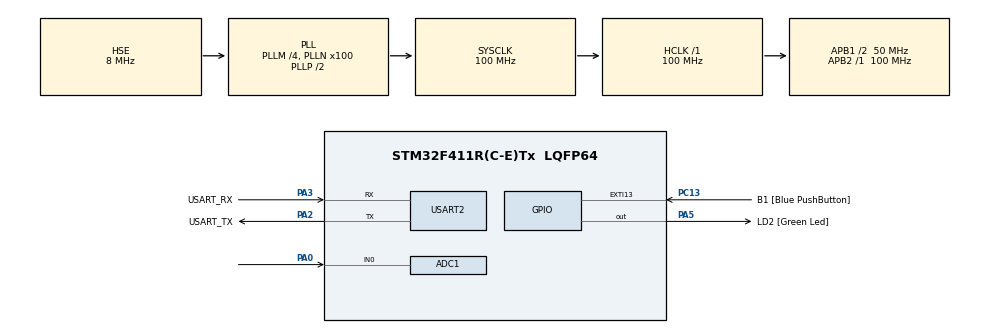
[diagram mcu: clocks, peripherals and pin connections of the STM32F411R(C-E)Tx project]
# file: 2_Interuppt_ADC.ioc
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ADC1.Channel-0\#ChannelRegularConversion=ADC_CHANNEL_0
ADC1.ContinuousConvMode=DISABLE
ADC1.NbrOfConversion=1
ADC1.NbrOfConversionFlag=1
ADC1.Rank-0\#ChannelRegularConversion=1
ADC1.SamplingTime-0\#ChannelRegularConversion=ADC_SAMPLETIME_84CYCLES
ADC1.ScanConvMode=DISABLE
ADC1.master=1
Mcu.Family=STM32F4
Mcu.Name=STM32F411R(C-E)Tx
Mcu.Package=LQFP64
NVIC.ADC_IRQn=true\:0\:0\:false\:false\:true\:true\:true\:true
NVIC.PriorityGroup=NVIC_PRIORITYGROUP_0
PA0-WKUP.Signal=ADCx_IN0
PA13.GPIO_Label=TMS
PA13.Mode=Serial_Wire
PA13.Signal=SYS_JTMS-SWDIO
PA14.GPIO_Label=TCK
PA14.Mode=Serial_Wire
PA14.Signal=SYS_JTCK-SWCLK
PA2.GPIO_Label=USART_TX
PA2.Mode=Asynchronous
PA2.Signal=USART2_TX
PA3.GPIO_Label=USART_RX
PA3.Mode=Asynchronous
PA3.Signal=USART2_RX
PA5.GPIO_Label=LD2 [Green Led]
PA5.Signal=GPIO_Output
PB3.GPIO_Label=SWO
PB3.Signal=SYS_JTDO-SWO
PC13-ANTI_TAMP.GPIO_Label=B1 [Blue PushButton]
PC13-ANTI_TAMP.GPIO_ModeDefaultEXTI=GPIO_MODE_IT_FALLING
PC13-ANTI_TAMP.Signal=GPXTI13
PC14-OSC32_IN.Mode=LSE-External-Oscillator
PC14-OSC32_IN.Signal=RCC_OSC32_IN
PC15-OSC32_OUT.Mode=LSE-External-Oscillator
PC15-OSC32_OUT.Signal=RCC_OSC32_OUT
PH0\ -\ OSC_IN.Mode=HSE-External-Clock-Source
PH0\ -\ OSC_IN.Signal=RCC_OSC_IN
PH1\ -\ OSC_OUT.Mode=HSE-External-Clock-Source
PH1\ -\ OSC_OUT.Signal=RCC_OSC_OUT
ProjectManager.HeapSize=0x200
ProjectManager.StackSize=0x400
ProjectManager.TargetToolchain=STM32CubeIDE
RCC.48MHZClocksFreq_Value=50000000
RCC.AHBFreq_Value=100000000
RCC.APB1CLKDivider=RCC_HCLK_DIV2
RCC.APB1Freq_Value=50000000
RCC.APB1TimFreq_Value=100000000
RCC.APB2Freq_Value=100000000
RCC.APB2TimFreq_Value=100000000
RCC.CortexFreq_Value=100000000
RCC.FLatency-AdvancedSettings=FLASH_LATENCY_3
RCC.HCLKFreq_Value=100000000
RCC.HSE_VALUE=8000000
RCC.HSI_VALUE=16000000
RCC.PLLM=4
RCC.PLLN=100
RCC.PLLSourceVirtual=RCC_PLLSOURCE_HSE
RCC.SYSCLKFreq_VALUE=100000000
RCC.SYSCLKSource=RCC_SYSCLKSOURCE_PLLCLK
RCC.VCOOutputFreq_Value=200000000
SH.ADCx_IN0.0=ADC1_IN0,IN0
USART2.VirtualMode=VM_ASYNC
board=NUCLEO-F411RE

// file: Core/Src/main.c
/* USER CODE BEGIN Header */
/**
  ******************************************************************************
  * @file           : main.c
  * @brief          : Main program body
  ******************************************************************************
  * @attention
  *
  * Copyright (c) 2025 STMicroelectronics.
  * All rights reserved.
  *
  * This software is licensed under terms that can be found in the LICENSE file
  * in the root directory of this software component.
  * If no LICENSE file comes with this software, it is provided AS-IS.
  *
  ******************************************************************************
  */
/* USER CODE END Header */
#include "main.h"

/* USER CODE BEGIN Includes */
#include <stdio.h>
/* USER CODE END Includes */

ADC_HandleTypeDef hadc1;

UART_HandleTypeDef huart2;

/* USER CODE BEGIN PV */
uint32_t value=0, ad_max=4095;
/* USER CODE END PV */

void SystemClock_Config(void);
static void MX_GPIO_Init(void);
static void MX_USART2_UART_Init(void);
static void MX_ADC1_Init(void);
/* USER CODE BEGIN PFP */
int __io_putchar(int ch)
{
	HAL_UART_Transmit(&huart2, (uint8_t*)&ch, 1, 0xFFFF);
	return ch;
}

void HAL_ADC_ConvCpltCallback(ADC_HandleTypeDef* hadc)
{
	if(hadc->Instance==ADC1)
	{
		value=HAL_ADC_GetValue(&hadc1);
	}

	HAL_ADC_Start_IT(hadc);	//adc 재시작
}
/* USER CODE END PFP */

int main(void)
{

  /* USER CODE BEGIN 1 */
	float volt=0.0;
  /* USER CODE END 1 */

  /* MCU Configuration--------------------------------------------------------*/

  /* Reset of all peripherals, Initializes the Flash interface and the Systick. */
  HAL_Init();

  /* Configure the system clock */
  SystemClock_Config();

  /* Initialize all configured peripherals */
  MX_GPIO_Init();
  MX_USART2_UART_Init();
  MX_ADC1_Init();
  /* USER CODE BEGIN 2 */
  HAL_ADC_Start_IT(&hadc1);	//ADC Start
  printf("\n ADC test start!");
  /* USER CODE END 2 */

  /* Infinite loop */
  /* USER CODE BEGIN WHILE */
  while (1)
  {
	  volt=(float)((value*3.3)/ad_max);
	  printf("\n\r adc value=%ld, volt=%1.2f", value, volt);
	  HAL_Delay(100);
    /* USER CODE END WHILE */

  }
}

void SystemClock_Config(void)
{
  RCC_OscInitTypeDef RCC_OscInitStruct = {0};
  RCC_ClkInitTypeDef RCC_ClkInitStruct = {0};

  /** Configure the main internal regulator output voltage
  */
  __HAL_RCC_PWR_CLK_ENABLE();
  __HAL_PWR_VOLTAGESCALING_CONFIG(PWR_REGULATOR_VOLTAGE_SCALE1);

  /** Initializes the RCC Oscillators according to the specified parameters
  * in the RCC_OscInitTypeDef structure.
  */
  RCC_OscInitStruct.OscillatorType = RCC_OSCILLATORTYPE_HSE;
  RCC_OscInitStruct.HSEState = RCC_HSE_BYPASS;
  RCC_OscInitStruct.PLL.PLLState = RCC_PLL_ON;
  RCC_OscInitStruct.PLL.PLLSource = RCC_PLLSOURCE_HSE;
  RCC_OscInitStruct.PLL.PLLM = 4;
  RCC_OscInitStruct.PLL.PLLN = 100;
  RCC_OscInitStruct.PLL.PLLP = RCC_PLLP_DIV2;
  RCC_OscInitStruct.PLL.PLLQ = 4;
  if (HAL_RCC_OscConfig(&RCC_OscInitStruct) != HAL_OK)
  {
    Error_Handler();
  }

  /** Initializes the CPU, AHB and APB buses clocks
  */
  RCC_ClkInitStruct.ClockType = RCC_CLOCKTYPE_HCLK|RCC_CLOCKTYPE_SYSCLK
                              |RCC_CLOCKTYPE_PCLK1|RCC_CLOCKTYPE_PCLK2;
  RCC_ClkInitStruct.SYSCLKSource = RCC_SYSCLKSOURCE_PLLCLK;
  RCC_ClkInitStruct.AHBCLKDivider = RCC_SYSCLK_DIV1;
  RCC_ClkInitStruct.APB1CLKDivider = RCC_HCLK_DIV2;
  RCC_ClkInitStruct.APB2CLKDivider = RCC_HCLK_DIV1;

  if (HAL_RCC_ClockConfig(&RCC_ClkInitStruct, FLASH_LATENCY_3) != HAL_OK)
  {
    Error_Handler();
  }
}

static void MX_ADC1_Init(void)
{

  ADC_ChannelConfTypeDef sConfig = {0};

  /** Configure the global features of the ADC (Clock, Resolution, Data Alignment and number of conversion)
  */
  hadc1.Instance = ADC1;
  hadc1.Init.ClockPrescaler = ADC_CLOCK_SYNC_PCLK_DIV4;
  hadc1.Init.Resolution = ADC_RESOLUTION_12B;
  hadc1.Init.ScanConvMode = DISABLE;
  hadc1.Init.ContinuousConvMode = DISABLE;
  hadc1.Init.DiscontinuousConvMode = DISABLE;
  hadc1.Init.ExternalTrigConvEdge = ADC_EXTERNALTRIGCONVEDGE_NONE;
  hadc1.Init.ExternalTrigConv = ADC_SOFTWARE_START;
  hadc1.Init.DataAlign = ADC_DATAALIGN_RIGHT;
  hadc1.Init.NbrOfConversion = 1;
  hadc1.Init.DMAContinuousRequests = DISABLE;
  hadc1.Init.EOCSelection = ADC_EOC_SINGLE_CONV;
  if (HAL_ADC_Init(&hadc1) != HAL_OK)
  {
    Error_Handler();
  }

  /** Configure for the selected ADC regular channel its corresponding rank in the sequencer and its sample time.
  */
  sConfig.Channel = ADC_CHANNEL_0;
  sConfig.Rank = 1;
  sConfig.SamplingTime = ADC_SAMPLETIME_84CYCLES;
  if (HAL_ADC_ConfigChannel(&hadc1, &sConfig) != HAL_OK)
  {
    Error_Handler();
  }

}

static void MX_USART2_UART_Init(void)
{

  huart2.Instance = USART2;
  huart2.Init.BaudRate = 115200;
  huart2.Init.WordLength = UART_WORDLENGTH_8B;
  huart2.Init.StopBits = UART_STOPBITS_1;
  huart2.Init.Parity = UART_PARITY_NONE;
  huart2.Init.Mode = UART_MODE_TX_RX;
  huart2.Init.HwFlowCtl = UART_HWCONTROL_NONE;
  huart2.Init.OverSampling = UART_OVERSAMPLING_16;
  if (HAL_UART_Init(&huart2) != HAL_OK)
  {
    Error_Handler();
  }

}

static void MX_GPIO_Init(void)
{
  GPIO_InitTypeDef GPIO_InitStruct = {0};

  /* GPIO Ports Clock Enable */
  __HAL_RCC_GPIOC_CLK_ENABLE();
  __HAL_RCC_GPIOH_CLK_ENABLE();
  __HAL_RCC_GPIOA_CLK_ENABLE();
  __HAL_RCC_GPIOB_CLK_ENABLE();

  /*Configure GPIO pin Output Level */
  HAL_GPIO_WritePin(LD2_GPIO_Port, LD2_Pin, GPIO_PIN_RESET);

  /*Configure GPIO pin : B1_Pin */
  GPIO_InitStruct.Pin = B1_Pin;
  GPIO_InitStruct.Mode = GPIO_MODE_IT_FALLING;
  GPIO_InitStruct.Pull = GPIO_NOPULL;
  HAL_GPIO_Init(B1_GPIO_Port, &GPIO_InitStruct);

  /*Configure GPIO pin : LD2_Pin */
  GPIO_InitStruct.Pin = LD2_Pin;
  GPIO_InitStruct.Mode = GPIO_MODE_OUTPUT_PP;
  GPIO_InitStruct.Pull = GPIO_NOPULL;
  GPIO_InitStruct.Speed = GPIO_SPEED_FREQ_LOW;
  HAL_GPIO_Init(LD2_GPIO_Port, &GPIO_InitStruct);

}

void Error_Handler(void)
{
  __disable_irq();
  while (1)
  {
  }
}
